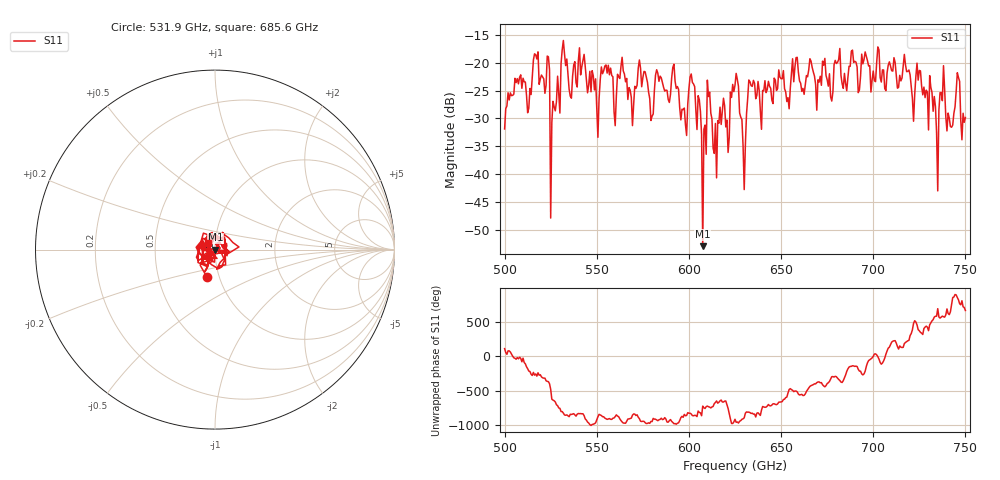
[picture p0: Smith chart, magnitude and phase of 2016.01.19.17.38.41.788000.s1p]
!Created with skrf (http://scikit-rf.org).
# GHz S RI R 50.0
!freq ReS11 ImS11
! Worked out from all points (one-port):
!   401 points, 500 GHz to 750 GHz, reference 50 ohm
!   lowest |S11| = -52.9 dB at 607.5 GHz (marker M1), VSWR 1.00, Z = 50.2 - j0.0214 ohm
!   |S11| at or under -10 dB: start of sweep to end of sweep
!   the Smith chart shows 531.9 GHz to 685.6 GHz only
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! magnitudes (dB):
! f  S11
! 500 GHz  -31.9
! 506.9 GHz  -22.9
! 513.1 GHz  -28.2
! 516.9 GHz  -18.6
! 523.1 GHz  -18.8
! 526.2 GHz  -26.9
! 531.2 GHz  -17.7
! 550 GHz  -28.0
! 562.5 GHz  -22.8
! 579.4 GHz  -30.4
! 583.1 GHz  -21.9
! 593.8 GHz  -24.3
! 597.5 GHz  -28.1
! 601.9 GHz  -23.5
! 607.5 GHz  -52.9
! 611.2 GHz  -25.3
! 614.4 GHz  -30.9
! 625 GHz  -24.0
! 629.4 GHz  -34.9
! 633.8 GHz  -24.1
! 656.2 GHz  -19.3
! 687.5 GHz  -20.7
! 718.8 GHz  -21.6
! 731.9 GHz  -25.3
! 733.8 GHz  -27.8
! 737.5 GHz  -26.8
! 741.2 GHz  -29.9
! 750 GHz  -29.8
